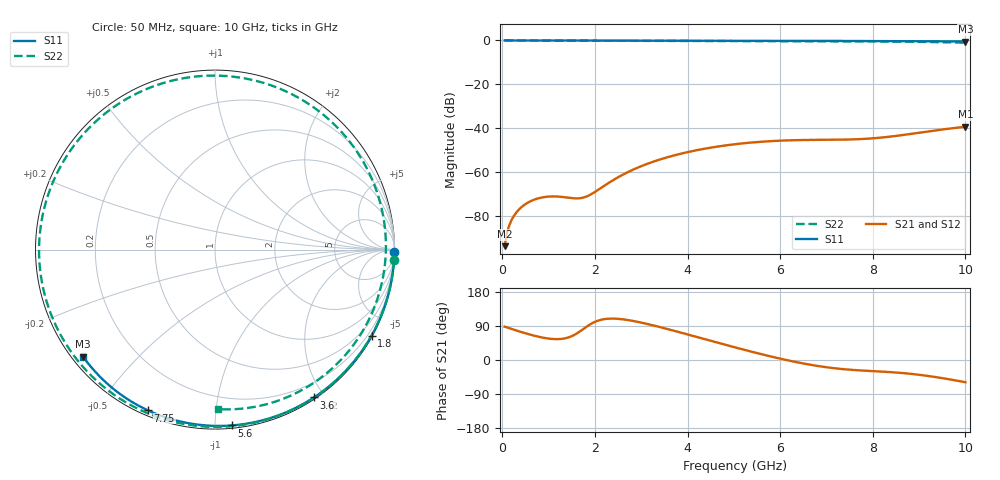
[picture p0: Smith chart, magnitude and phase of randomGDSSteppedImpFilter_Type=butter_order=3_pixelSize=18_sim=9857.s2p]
! freq	dB(S11)	phase(S11)	dB(S12)	phase(S12)
!  dB(S21)	phase(S21)	dB(S22)	phase(S22)
!S-par simulation data
#  GHz  S  DB  R 50
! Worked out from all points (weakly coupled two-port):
!   200 points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, 50 MHz to 10 GHz, reference 50 ohm
!   highest |S21| = -39.39 dB at 10 GHz (marker M1); lowest = -93.9 dB at 50 MHz (marker M2)
!   lowest |S11| = -0.5 dB at 10 GHz (marker M3), VSWR 36.45, Z = 1.54 - j17.8 ohm
!   |S11| at or under -10 dB: nowhere
!   |S22| runs from -1.0 to 0.0 dB; largest |S21 - S12| = 0
!   S11 on the Smith chart (normalised r, x): 50 MHz: open; 1.8 GHz: 0.03, -3.90; 3.6 GHz: 0.02, -1.87; 5.6 GHz: 0.02, -1.10; 7.75 GHz: 0.02, -0.67; 10 GHz: 0.03, -0.36
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0.05  -0.00 -0.8  -93.90 88.0  -93.90 88.0  -0.00 -3.3
0.25  -0.01 -4.1  -80.11 80.0  -80.11 80.0  -0.03 -16.5
0.55  -0.01 -8.9  -74.05 68.7  -74.05 68.7  -0.05 -35.8
0.95  -0.02 -15.3  -71.37 57.4  -71.37 57.4  -0.07 -60.5
1.35  -0.03 -21.7  -71.58 57.1  -71.58 57.1  -0.10 -83.7
1.75  -0.04 -28.0  -71.71 81.8  -71.71 81.8  -0.12 -105.1
1.8  -0.04 -28.8  -71.38 86.1  -71.38 86.1  -0.12 -107.7
2.2  -0.04 -35.0  -66.37 107.8  -66.37 107.8  -0.13 -127.3
2.6  -0.05 -41.1  -61.29 107.4  -61.29 107.4  -0.15 -145.7
3  -0.06 -47.2  -57.38 98.7  -57.38 98.7  -0.16 -163.1
3.4  -0.07 -53.2  -54.36 87.0  -54.36 87.0  -0.17 -179.7
3.6  -0.08 -56.2  -53.10 80.7  -53.10 80.7  -0.18 172.2
4.3  -0.09 -66.3  -49.68 57.5  -49.68 57.5  -0.21 144.2
5.05  -0.12 -76.9  -47.30 32.6  -47.30 32.6  -0.24 114.3
5.6  -0.14 -84.5  -46.22 15.2  -46.22 15.2  -0.27 92.2
6.15  -0.16 -91.9  -45.62 -0.5  -45.62 -0.5  -0.29 69.6
6.7  -0.19 -99.1  -45.39 -13.5  -45.39 -13.5  -0.33 46.9
7.25  -0.22 -106.2  -45.30 -22.8  -45.30 -22.8  -0.37 24.0
7.75  -0.26 -112.6  -45.01 -27.7  -45.01 -27.7  -0.42 3.4
8.35  -0.31 -120.2  -43.96 -31.7  -43.96 -31.7  -0.50 -21.0
9.25  -0.39 -131.4  -41.38 -43.1  -41.38 -43.1  -0.72 -57.4
10  -0.48 -140.9  -39.39 -58.7  -39.39 -58.7  -1.02 -88.9
